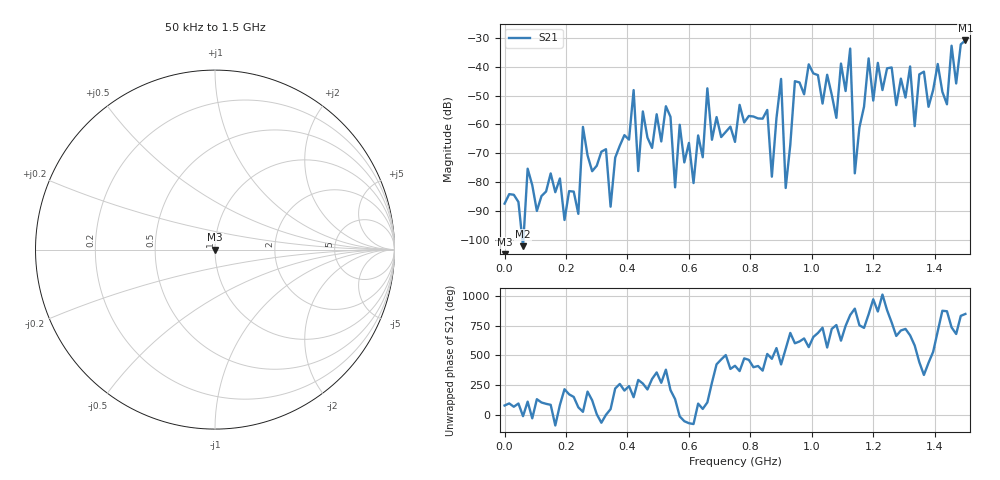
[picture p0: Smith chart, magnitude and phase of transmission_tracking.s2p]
! Created with skrf 1.8.0 (http://scikit-rf.org).
# Hz S RI R 50.0
!freq ReS11 ImS11 ReS21 ImS21 ReS12 ImS12 ReS22 ImS22
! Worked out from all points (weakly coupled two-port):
!   101 points, 50 kHz to 1.5 GHz, reference 50 ohm
!   highest |S21| = -30.87 dB at 1.5 GHz (marker M1); lowest = -102.3 dB at 60.05 MHz (marker M2)
!   lowest |S11| = - dB at 50 kHz (marker M3), VSWR 1.00, Z = 50 + j0 ohm
!   |S11| at or under -10 dB: start of sweep to end of sweep
!   S12 and S22 are empty: the file has one direction only
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50000  0 0  8.55e-06 4.13e-05  0 0  0 0
6.0048e7  0 0  7.54e-06 -1.55e-06  0 0  0 0
2.40042e8  0 0  1.27e-05 2.5e-05  0 0  0 0
2.550415e8  0 0  0.000821 0.000381  0 0  0 0
3.450385e8  0 0  2.5e-05 2.76e-05  0 0  0 0
5.10033e8  0 0  -6.57e-06 -0.000506  0 0  0 0
6.150295e8  0 0  2.01e-05 -9.38e-05  0 0  0 0
6.60028e8  0 0  -0.00103 0.0041  0 0  0 0
7.50025e8  0 0  0.000303 0.000394  0 0  0 0
8.550215e8  0 0  -0.00157 0.000841  0 0  0 0
8.70021e8  0 0  -4.45e-05 0.000115  0 0  0 0
9.0002e8  0 0  0.00274 0.00551  0 0  0 0
9.150195e8  0 0  -7.61e-05 -2.04e-05  0 0  0 0
9.450185e8  0 0  -0.00266 -0.00495  0 0  0 0
1.005016e9  0 0  0.0032 -0.00697  0 0  0 0
1.080014e9  0 0  0.00106 0.000749  0 0  0 0
1.125012e9  0 0  -0.0102 0.018  0 0  0 0
1.140012e9  0 0  -0.00014 1.67e-05  0 0  0 0
1.18501e9  0 0  -0.00813 0.0114  0 0  0 0
1.260008e9  0 0  0.00532 0.00815  0 0  0 0
1.335006e9  0 0  -0.000682 -0.000636  0 0  0 0
1.5e9  0 0  -0.0178 0.0224  0 0  0 0
